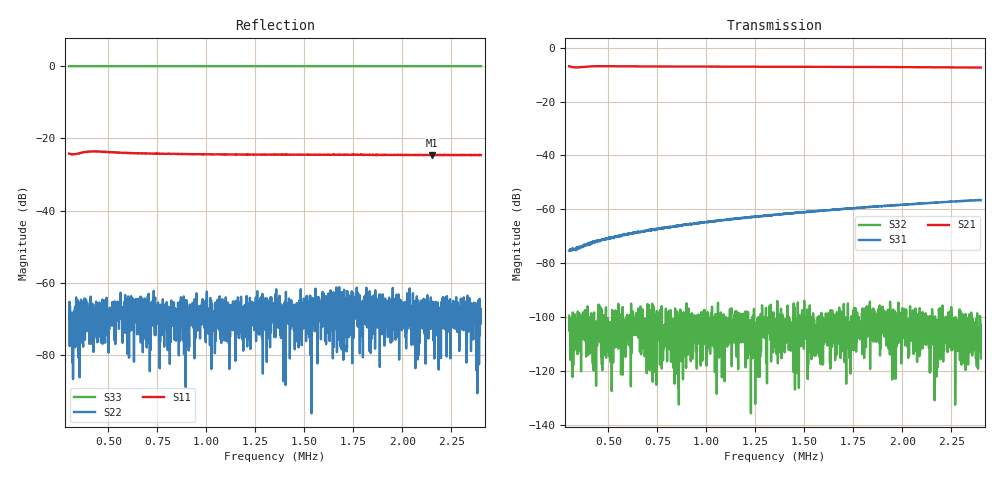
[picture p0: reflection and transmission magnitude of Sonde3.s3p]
#  HZ  S  DB  R  50.00
! Rohde & Schwarz Vector Network Analyzer
! Rohde-Schwarz,ZNB8-4Port,1311601044102961,2.82
! Created: UTC 10/29/2018, 10:53:34 AM
! freq[Hz]  db:S11  ang:S11  db:S12  ang:S12  db:S13  ang:S13
!  db:S21  ang:S21  db:S22  ang:S22  db:S23  ang:S23
!  db:S31  ang:S31  db:S32  ang:S32  db:S33  ang:S33
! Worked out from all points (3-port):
!   2001 points, 300 kHz to 2.4 MHz, reference 50 ohm
!   strongest paths, dB at 300 kHz, 825 kHz, 1.35 MHz, 1.875 MHz, 2.4 MHz:
!     S21: -6.9, -7.0, -7.1, -7.2, -7.4
!     S31: -75.3, -66.4, -62.0, -58.8, -56.6
!     S32: -99.4, -102.7, -104.5, -108.4, -115.2
!   lowest |S11| = -24.6 dB at 2.151 MHz (marker M1), VSWR 1.12, Z = 44.5 + j0.135 ohm
!   |S11| at or under -10 dB: start of sweep to end of sweep
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300000  -24.18 -140.2  -106.28 23.0  -117.56 -164.9
        -6.94 -112.2  -69.91 -58.3  -104.49 -134.6
        -75.31 -24.7  -99.40 90.5  -0.00 -1.7
349350  -24.12 -137.6  -101.11 -147.9  -108.76 11.0
        -7.33 -119.7  -68.23 27.9  -106.80 102.1
        -74.09 -30.4  -98.61 -173.7  -0.00 -1.9
369300  -23.87 -138.5  -106.71 -146.1  -104.22 -13.0
        -7.22 -122.6  -65.18 -12.1  -97.15 -142.1
        -74.01 -34.6  -107.96 -19.3  -0.00 -2.1
460650  -23.65 -148.6  -104.93 -24.5  -103.38 131.5
        -6.89 -137.4  -69.29 23.1  -129.42 -29.1
        -71.60 -48.6  -101.27 -50.5  -0.00 -2.6
552000  -23.92 -155.0  -113.14 -36.2  -104.39 -58.5
        -6.93 -148.2  -69.58 -3.2  -104.97 23.0
        -69.72 -59.6  -111.62 42.6  0.00 -3.1
728400  -24.20 -162.3  -105.07 73.7  -124.82 53.8
        -6.99 -162.2  -67.54 -5.7  -107.95 25.4
        -67.46 -74.5  -120.57 -119.5  -0.00 -4.1
809250  -24.24 -164.4  -112.47 86.4  -119.78 -16.1
        -7.01 -167.1  -66.57 -55.2  -109.04 -55.8
        -66.68 -78.4  -104.01 48.8  0.00 -4.5
1350000  -24.48 -173.8  -101.98 -13.4  -101.65 -1.9
         -7.10 170.5  -74.62 -76.5  -105.86 -47.3
         -62.01 -102.7  -104.52 165.1  -0.00 -7.6
2151150  -24.63 178.5  -112.81 72.7  -100.34 -83.3
         -7.29 147.0  -69.56 -108.9  -112.28 106.3
         -57.60 -127.9  -96.98 -0.2  -0.00 -12.1
2400000  -24.60 177.0  -117.90 -47.5  -115.18 -145.0
         -7.40 140.6  -68.34 -108.9  -113.73 135.5
         -56.58 -134.6  -115.24 -41.4  0.00 -13.5
